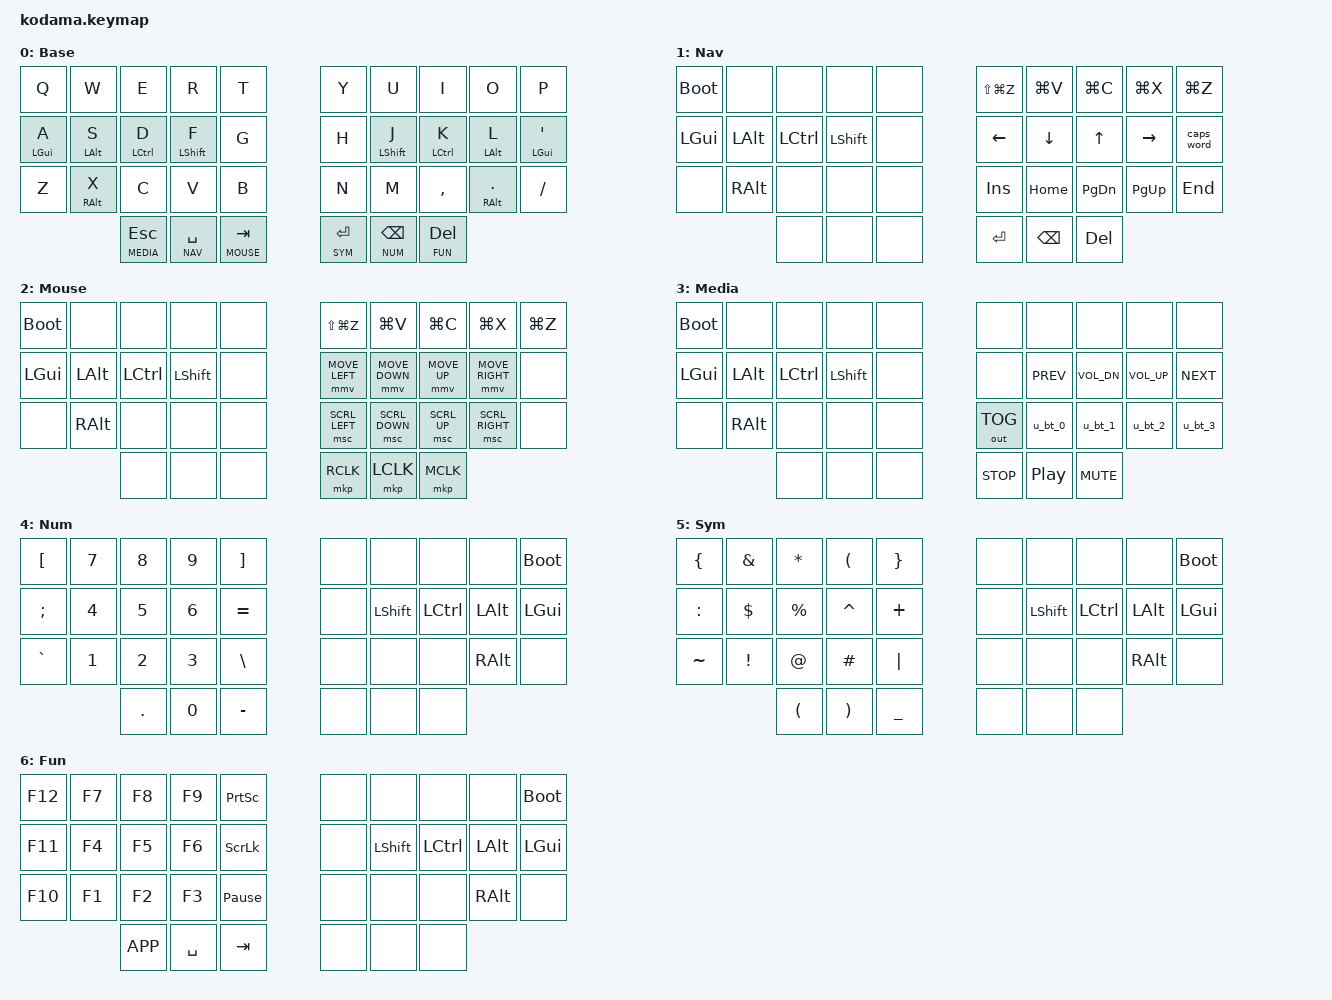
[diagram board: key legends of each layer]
// Miryoku-style layout for Kodama keyboard
// Based on https://github.com/manna-harbour/miryoku_zmk

#include <behaviors.dtsi>
#include <dt-bindings/zmk/keys.h>
#include <dt-bindings/zmk/bt.h>
#include <dt-bindings/zmk/outputs.h>

// Mouse speed settings (defaults: move=600, scroll=10)
#define ZMK_POINTING_DEFAULT_MOVE_VAL 1500
#define ZMK_POINTING_DEFAULT_SCRL_VAL 20

#include <dt-bindings/zmk/pointing.h>

// Layer definitions
#define BASE   0
#define NAV    1
#define MOUSE  2
#define MEDIA  3
#define NUM    4
#define SYM    5
#define FUN    6

// Clipboard shortcuts (Mac)
#define U_RDO &kp LS(LG(Z))
#define U_PST &kp LG(V)
#define U_CPY &kp LG(C)
#define U_CUT &kp LG(X)
#define U_UND &kp LG(Z)

#define U_TAPPING_TERM 200

// Mouse keys
#define U_BTN1 &mkp LCLK
#define U_BTN2 &mkp RCLK
#define U_BTN3 &mkp MCLK
#define U_MS_U &mmv MOVE_UP
#define U_MS_D &mmv MOVE_DOWN
#define U_MS_L &mmv MOVE_LEFT
#define U_MS_R &mmv MOVE_RIGHT
#define U_WH_U &msc SCRL_UP
#define U_WH_D &msc SCRL_DOWN
#define U_WH_L &msc SCRL_LEFT
#define U_WH_R &msc SCRL_RIGHT

&caps_word {
    continue-list = <UNDERSCORE MINUS>;
};

/ {
    behaviors {
        u_mt: u_mt {
            compatible = "zmk,behavior-hold-tap";
            #binding-cells = <2>;
            tapping-term-ms = <U_TAPPING_TERM>;
            flavor = "tap-preferred";
            bindings = <&kp>, <&kp>;
        };
        u_lt: u_lt {
            compatible = "zmk,behavior-hold-tap";
            #binding-cells = <2>;
            tapping-term-ms = <U_TAPPING_TERM>;
            flavor = "tap-preferred";
            bindings = <&mo>, <&kp>;
        };
    };

    macros {
        u_bt_sel_0: u_bt_sel_0 {
            compatible = "zmk,behavior-macro";
            #binding-cells = <0>;
            bindings = <&bt BT_SEL 0 &bt BT_CLR>;
        };
        u_bt_sel_1: u_bt_sel_1 {
            compatible = "zmk,behavior-macro";
            #binding-cells = <0>;
            bindings = <&bt BT_SEL 1 &bt BT_CLR>;
        };
        u_bt_sel_2: u_bt_sel_2 {
            compatible = "zmk,behavior-macro";
            #binding-cells = <0>;
            bindings = <&bt BT_SEL 2 &bt BT_CLR>;
        };
        u_bt_sel_3: u_bt_sel_3 {
            compatible = "zmk,behavior-macro";
            #binding-cells = <0>;
            bindings = <&bt BT_SEL 3 &bt BT_CLR>;
        };
    };

    behaviors {
        u_bt_0: u_bt_0 {
            compatible = "zmk,behavior-mod-morph";
            #binding-cells = <0>;
            bindings = <&bt BT_SEL 0>, <&u_bt_sel_0>;
            mods = <(MOD_LSFT|MOD_RSFT)>;
        };
        u_bt_1: u_bt_1 {
            compatible = "zmk,behavior-mod-morph";
            #binding-cells = <0>;
            bindings = <&bt BT_SEL 1>, <&u_bt_sel_1>;
            mods = <(MOD_LSFT|MOD_RSFT)>;
        };
        u_bt_2: u_bt_2 {
            compatible = "zmk,behavior-mod-morph";
            #binding-cells = <0>;
            bindings = <&bt BT_SEL 2>, <&u_bt_sel_2>;
            mods = <(MOD_LSFT|MOD_RSFT)>;
        };
        u_bt_3: u_bt_3 {
            compatible = "zmk,behavior-mod-morph";
            #binding-cells = <0>;
            bindings = <&bt BT_SEL 3>, <&u_bt_sel_3>;
            mods = <(MOD_LSFT|MOD_RSFT)>;
        };
    };

    keymap {
        compatible = "zmk,keymap";

        // Base layer (QWERTY)
        // ╭─────────┬─────────┬─────────┬─────────┬─────────╮   ╭─────────┬─────────┬─────────┬─────────┬─────────╮
        // │    Q    │    W    │    E    │    R    │    T    │   │    Y    │    U    │    I    │    O    │    P    │
        // ├─────────┼─────────┼─────────┼─────────┼─────────┤   ├─────────┼─────────┼─────────┼─────────┼─────────┤
        // │ GUI/A   │ ALT/S   │ CTRL/D  │ SHFT/F  │    G    │   │    H    │ SHFT/J  │ CTRL/K  │ ALT/L   │ GUI/'   │
        // ├─────────┼─────────┼─────────┼─────────┼─────────┤   ├─────────┼─────────┼─────────┼─────────┼─────────┤
        // │    Z    │ RALT/X  │    C    │    V    │    B    │   │    N    │    M    │    ,    │ RALT/.  │    /    │
        // ╰─────────┴─────────┼─────────┼─────────┼─────────┤   ├─────────┼─────────┼─────────┼─────────┴─────────╯
        //                     │MEDIA/ESC│ NAV/SPC │MOUSE/TAB│   │ SYM/RET │NUM/BSPC │ FUN/DEL │
        //                     ╰─────────┴─────────┴─────────╯   ╰─────────┴─────────┴─────────╯
        base_layer {
            label = "Base";
            bindings = <
                &kp Q          &kp W          &kp E          &kp R          &kp T              &kp Y          &kp U          &kp I          &kp O          &kp P
                &u_mt LGUI A   &u_mt LALT S   &u_mt LCTRL D  &u_mt LSHFT F  &kp G              &kp H          &u_mt LSHFT J  &u_mt LCTRL K  &u_mt LALT L   &u_mt LGUI SQT
                &kp Z          &u_mt RALT X   &kp C          &kp V          &kp B              &kp N          &kp M          &kp COMMA      &u_mt RALT DOT &kp SLASH
                                              &u_lt MEDIA ESC &u_lt NAV SPACE &u_lt MOUSE TAB  &u_lt SYM RET  &u_lt NUM BSPC &u_lt FUN DEL
            >;
        };

        // Navigation layer
        // ╭─────────┬─────────┬─────────┬─────────┬─────────╮   ╭─────────┬─────────┬─────────┬─────────┬─────────╮
        // │  BOOT   │         │         │         │         │   │  Redo   │  Paste  │  Copy   │   Cut   │  Undo   │
        // ├─────────┼─────────┼─────────┼─────────┼─────────┤   ├─────────┼─────────┼─────────┼─────────┼─────────┤
        // │   GUI   │   ALT   │  CTRL   │  SHIFT  │         │   │  Left   │  Down   │   Up    │  Right  │CapsWord │ (vim: HJKL)
        // ├─────────┼─────────┼─────────┼─────────┼─────────┤   ├─────────┼─────────┼─────────┼─────────┼─────────┤
        // │         │  RALT   │         │         │         │   │  Insert │  Home   │  PgDn   │  PgUp   │   End   │
        // ╰─────────┴─────────┼─────────┼─────────┼─────────┤   ├─────────┼─────────┼─────────┼─────────┴─────────╯
        //                     │         │         │         │   │  Enter  │  Bspc   │   Del   │
        //                     ╰─────────┴─────────┴─────────╯   ╰─────────┴─────────┴─────────╯
        nav_layer {
            label = "Nav";
            bindings = <
                &bootloader    &none          &none          &none          &none              U_RDO          U_PST          U_CPY          U_CUT          U_UND
                &kp LGUI       &kp LALT       &kp LCTRL      &kp LSHFT      &none              &kp LEFT       &kp DOWN       &kp UP         &kp RIGHT      &caps_word
                &none          &kp RALT       &none          &none          &none              &kp INS        &kp HOME       &kp PG_DN      &kp PG_UP      &kp END
                                              &none          &none          &none              &kp RET        &kp BSPC       &kp DEL
            >;
        };

        // Mouse layer
        // ╭─────────┬─────────┬─────────┬─────────┬─────────╮   ╭─────────┬─────────┬─────────┬─────────┬─────────╮
        // │  BOOT   │         │         │         │         │   │  Redo   │  Paste  │  Copy   │   Cut   │  Undo   │
        // ├─────────┼─────────┼─────────┼─────────┼─────────┤   ├─────────┼─────────┼─────────┼─────────┼─────────┤
        // │   GUI   │   ALT   │  CTRL   │  SHIFT  │         │   │  MS_L   │  MS_D   │  MS_U   │  MS_R   │         │ (vim: HJKL)
        // ├─────────┼─────────┼─────────┼─────────┼─────────┤   ├─────────┼─────────┼─────────┼─────────┼─────────┤
        // │         │  RALT   │         │         │         │   │  WH_L   │  WH_D   │  WH_U   │  WH_R   │         │
        // ╰─────────┴─────────┼─────────┼─────────┼─────────┤   ├─────────┼─────────┼─────────┼─────────┴─────────╯
        //                     │         │         │         │   │  Btn2   │  Btn1   │  Btn3   │
        //                     ╰─────────┴─────────┴─────────╯   ╰─────────┴─────────┴─────────╯
        mouse_layer {
            label = "Mouse";
            bindings = <
                &bootloader    &none          &none          &none          &none              U_RDO          U_PST          U_CPY          U_CUT          U_UND
                &kp LGUI       &kp LALT       &kp LCTRL      &kp LSHFT      &none              U_MS_L         U_MS_D         U_MS_U         U_MS_R         &none
                &none          &kp RALT       &none          &none          &none              U_WH_L         U_WH_D         U_WH_U         U_WH_R         &none
                                              &none          &none          &none              U_BTN2         U_BTN1         U_BTN3
            >;
        };

        // Media layer
        // ╭─────────┬─────────┬─────────┬─────────┬─────────╮   ╭─────────┬─────────┬─────────┬─────────┬─────────╮
        // │  BOOT   │         │         │         │         │   │         │         │         │         │         │
        // ├─────────┼─────────┼─────────┼─────────┼─────────┤   ├─────────┼─────────┼─────────┼─────────┼─────────┤
        // │   GUI   │   ALT   │  CTRL   │  SHIFT  │         │   │         │  Prev   │  VolDn  │  VolUp  │  Next   │
        // ├─────────┼─────────┼─────────┼─────────┼─────────┤   ├─────────┼─────────┼─────────┼─────────┼─────────┤
        // │         │  RALT   │         │         │         │   │ OUT_TOG │ BT0/CLR │ BT1/CLR │ BT2/CLR │ BT3/CLR │
        // ╰─────────┴─────────┼─────────┼─────────┼─────────┤   ├─────────┼─────────┼─────────┼─────────┴─────────╯
        //                     │         │         │         │   │  Stop   │  Play   │  Mute   │
        //                     ╰─────────┴─────────┴─────────╯   ╰─────────┴─────────┴─────────╯
        media_layer {
            label = "Media";
            bindings = <
                &bootloader    &none          &none          &none          &none              &none          &none          &none          &none          &none
                &kp LGUI       &kp LALT       &kp LCTRL      &kp LSHFT      &none              &none          &kp C_PREV     &kp C_VOL_DN   &kp C_VOL_UP   &kp C_NEXT
                &none          &kp RALT       &none          &none          &none              &out OUT_TOG   &u_bt_0        &u_bt_1        &u_bt_2        &u_bt_3
                                              &none          &none          &none              &kp C_STOP     &kp C_PP       &kp C_MUTE
            >;
        };

        // Number layer
        // ╭─────────┬─────────┬─────────┬─────────┬─────────╮   ╭─────────┬─────────┬─────────┬─────────┬─────────╮
        // │    [    │    7    │    8    │    9    │    ]    │   │         │         │         │         │  BOOT   │
        // ├─────────┼─────────┼─────────┼─────────┼─────────┤   ├─────────┼─────────┼─────────┼─────────┼─────────┤
        // │    ;    │    4    │    5    │    6    │    =    │   │         │  SHIFT  │  CTRL   │   ALT   │   GUI   │
        // ├─────────┼─────────┼─────────┼─────────┼─────────┤   ├─────────┼─────────┼─────────┼─────────┼─────────┤
        // │    `    │    1    │    2    │    3    │    \    │   │         │         │         │  RALT   │         │
        // ╰─────────┴─────────┼─────────┼─────────┼─────────┤   ├─────────┼─────────┼─────────┼─────────┴─────────╯
        //                     │    .    │    0    │    -    │   │         │         │         │
        //                     ╰─────────┴─────────┴─────────╯   ╰─────────┴─────────┴─────────╯
        num_layer {
            label = "Num";
            bindings = <
                &kp LBKT       &kp N7         &kp N8         &kp N9         &kp RBKT           &none          &none          &none          &none          &bootloader
                &kp SEMI       &kp N4         &kp N5         &kp N6         &kp EQUAL          &none          &kp LSHFT      &kp LCTRL      &kp LALT       &kp LGUI
                &kp GRAVE      &kp N1         &kp N2         &kp N3         &kp BSLH           &none          &none          &none          &kp RALT       &none
                                              &kp DOT        &kp N0         &kp MINUS          &none          &none          &none
            >;
        };

        // Symbol layer
        // ╭─────────┬─────────┬─────────┬─────────┬─────────╮   ╭─────────┬─────────┬─────────┬─────────┬─────────╮
        // │    {    │    &    │    *    │    (    │    }    │   │         │         │         │         │  BOOT   │
        // ├─────────┼─────────┼─────────┼─────────┼─────────┤   ├─────────┼─────────┼─────────┼─────────┼─────────┤
        // │    :    │    $    │    %    │    ^    │    +    │   │         │  SHIFT  │  CTRL   │   ALT   │   GUI   │
        // ├─────────┼─────────┼─────────┼─────────┼─────────┤   ├─────────┼─────────┼─────────┼─────────┼─────────┤
        // │    ~    │    !    │    @    │    #    │    |    │   │         │         │         │  RALT   │         │
        // ╰─────────┴─────────┼─────────┼─────────┼─────────┤   ├─────────┼─────────┼─────────┼─────────┴─────────╯
        //                     │    (    │    )    │    _    │   │         │         │         │
        //                     ╰─────────┴─────────┴─────────╯   ╰─────────┴─────────┴─────────╯
        sym_layer {
            label = "Sym";
            bindings = <
                &kp LBRC       &kp AMPS       &kp ASTRK      &kp LPAR       &kp RBRC           &none          &none          &none          &none          &bootloader
                &kp COLON      &kp DLLR       &kp PRCNT      &kp CARET      &kp PLUS           &none          &kp LSHFT      &kp LCTRL      &kp LALT       &kp LGUI
                &kp TILDE      &kp EXCL       &kp AT         &kp HASH       &kp PIPE           &none          &none          &none          &kp RALT       &none
                                              &kp LPAR       &kp RPAR       &kp UNDER          &none          &none          &none
            >;
        };

        // Function layer
        // ╭─────────┬─────────┬─────────┬─────────┬─────────╮   ╭─────────┬─────────┬─────────┬─────────┬─────────╮
        // │   F12   │   F7    │   F8    │   F9    │  PrtSc  │   │         │         │         │         │  BOOT   │
        // ├─────────┼─────────┼─────────┼─────────┼─────────┤   ├─────────┼─────────┼─────────┼─────────┼─────────┤
        // │   F11   │   F4    │   F5    │   F6    │  ScrLk  │   │         │  SHIFT  │  CTRL   │   ALT   │   GUI   │
        // ├─────────┼─────────┼─────────┼─────────┼─────────┤   ├─────────┼─────────┼─────────┼─────────┼─────────┤
        // │   F10   │   F1    │   F2    │   F3    │  Pause  │   │         │         │         │  RALT   │         │
        // ╰─────────┴─────────┼─────────┼─────────┼─────────┤   ├─────────┼─────────┼─────────┼─────────┴─────────╯
        //                     │   App   │  Space  │   Tab   │   │         │         │         │
        //                     ╰─────────┴─────────┴─────────╯   ╰─────────┴─────────┴─────────╯
        fun_layer {
            label = "Fun";
            bindings = <
                &kp F12        &kp F7         &kp F8         &kp F9         &kp PSCRN          &none          &none          &none          &none          &bootloader
                &kp F11        &kp F4         &kp F5         &kp F6         &kp SLCK           &none          &kp LSHFT      &kp LCTRL      &kp LALT       &kp LGUI
                &kp F10        &kp F1         &kp F2         &kp F3         &kp PAUSE_BREAK    &none          &none          &none          &kp RALT       &none
                                              &kp K_APP      &kp SPACE      &kp TAB            &none          &none          &none
            >;
        };
    };
};
